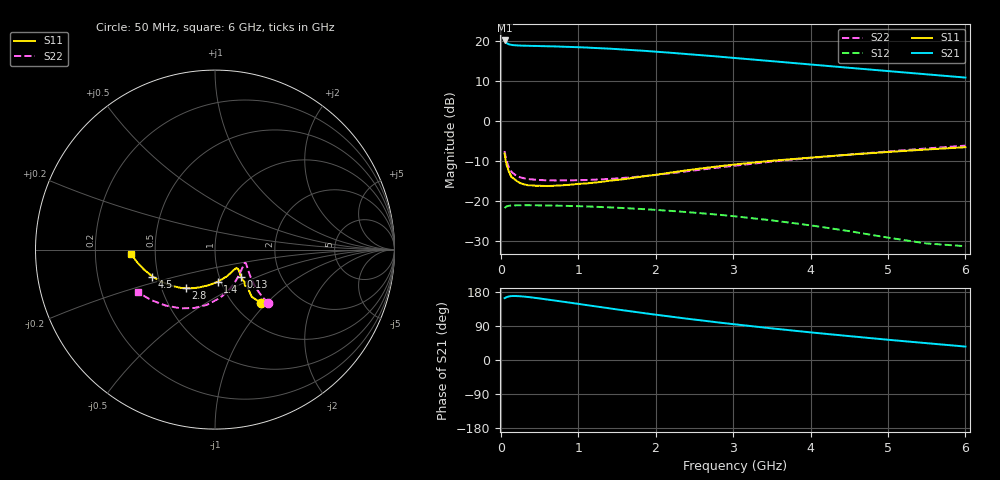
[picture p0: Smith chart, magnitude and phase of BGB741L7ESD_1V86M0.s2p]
! (c) 2009  Infineon Technologies AG, Munich
!  Infineon Technologies AG
!  BGB741L7ESD
!  Vce = 1.8V, Ic = 6.0mA
!  DATUM: 30.06.2009 10:07:59
# GHz  S  MA  R  50
!f  S11  S21  S12  S22
!GHz  Mag  Ang  Mag  Ang  Mag  Ang  Mag  Ang
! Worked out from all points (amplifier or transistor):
!   44 points, 50 MHz to 6 GHz, reference 50 ohm
!   highest |S21| = 20.1 dB at 50 MHz (marker M1)
!   |S21| within 3 dB of that: start of sweep to 2.146 GHz
!   unconditionally stable (mu >= 1): 196.5 MHz to end of sweep
!   at 120 MHz: K = 0.97, MSG = 20.1 dB, |S12| = -21.1 dB
!   at 1 GHz: K = 1.03, MAG = 18.8 dB, |S12| = -21.3 dB
!   at 6 GHz: K = 2.93, MAG = 13.5 dB, |S12| = -31.2 dB
!   lowest NFmin = 1.02 dB at 450 MHz
!   S11 on the Smith chart (normalised r, x): 50 MHz: 1.32, -0.93; 130 MHz: 1.26, -0.40; 1.4 GHz: 0.97, -0.36; 2.8 GHz: 0.66, -0.31; 4.5 GHz: 0.46, -0.16; 6 GHz: 0.36, -0.02
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0.05  0.3931 -49.2  10.07 163.3  0.08191 22.7  0.4201 -45.2
0.07  0.3024 -50.7  9.455 165.3  0.08513 16.2  0.3351 -44.0
0.08  0.274 -48.7  9.262 166.1  0.08612 14.2  0.3084 -42.8
0.1  0.2405 -47.4  9.051 167.3  0.08715 11.1  0.2709 -39.9
0.13  0.2073 -46.3  8.911 168.5  0.08798 8.1  0.2393 -36.0
0.2  0.1801 -41.9  8.751 168.8  0.08862 4.2  0.2078 -29.6
0.3  0.1619 -40.5  8.658 167.4  0.08885 1.1  0.1926 -25.2
0.7  0.1555 -53.5  8.487 156.8  0.08794 -5.1  0.1808 -25.9
1.1  0.1657 -72.1  8.219 145.2  0.08581 -9.5  0.183 -33.6
1.4  0.1793 -84.8  7.955 136.5  0.0836 -12.6  0.1893 -41.6
1.5  0.1835 -88.5  7.857 133.5  0.08279 -13.5  0.1918 -44.0
1.8  0.2006 -99.7  7.534 125.1  0.07988 -16.3  0.2027 -52.6
2.2  0.2269 -112.2  7.065 114.4  0.07546 -19.5  0.2226 -64.2
2.4  0.2419 -117.7  6.814 109.1  0.07302 -21.0  0.2351 -69.9
2.8  0.2706 -127.4  6.352 99.3  0.0678 -23.7  0.2614 -81.0
3  0.2847 -131.4  6.11 94.7  0.06498 -24.7  0.275 -86.2
3.5  0.3183 -140.9  5.557 83.4  0.05756 -26.7  0.3108 -98.2
4  0.3486 -149.3  5.05 72.9  0.04987 -27.3  0.345 -109.4
4.5  0.3794 -156.7  4.592 63.0  0.0422 -25.6  0.3797 -120.6
5  0.4095 -164.0  4.181 53.5  0.03508 -20.3  0.4161 -131.5
5.5  0.44 -170.9  3.807 44.4  0.02962 -9.5  0.4532 -141.6
6  0.4699 -177.3  3.469 35.4  0.02743 6.5  0.4917 -151.2
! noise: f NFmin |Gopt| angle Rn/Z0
0.45  1.02  0.04  44  0.14
0.9  1.03  0.07  73  0.16
1.8  1.06  0.09  84  0.2
2.4  1.11  0.11  92  0.26
3  1.18  0.14  132  0.22
5.5  1.82  0.18  160  0.17
